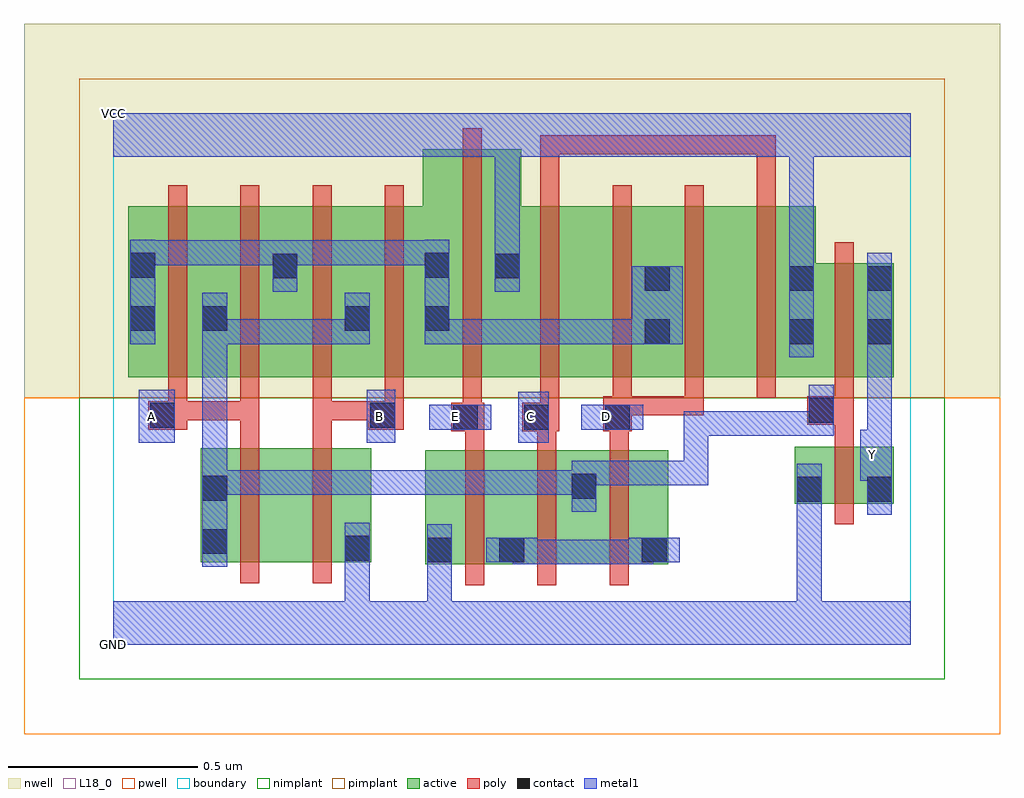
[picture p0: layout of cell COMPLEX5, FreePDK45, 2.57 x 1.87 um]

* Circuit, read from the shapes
.subckt COMPLEX5 A B C D E GND VCC Y
M1 n1 A n2 VSUBS nfet w=0.3u l=0.05u
M2 GND B n1 VSUBS nfet w=0.3u l=0.05u
M3 n3 E GND VSUBS nfet w=0.3u l=0.05u
M4 n2 C n3 VSUBS nfet w=0.3u l=0.05u
M5 n3 D n2 VSUBS nfet w=0.3u l=0.05u
M6 Y n2 GND VSUBS nfet w=0.15u l=0.05u
M7 n2 A n4 n5 pfet w=0.45u l=0.05u m=2
M8 n2 B n4 n5 pfet w=0.45u l=0.05u m=2
M9 VCC E n4 n5 pfet w=0.6u l=0.05u
M10 n6 C VCC n5 pfet w=0.45u l=0.05u
M11 n4 D n6 n5 pfet w=0.45u l=0.05u
M12 n7 D n4 n5 pfet w=0.45u l=0.05u
M13 VCC C n7 n5 pfet w=0.45u l=0.05u
M14 Y n2 VCC n5 pfet w=0.3u l=0.05u
.ends

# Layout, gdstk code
import gdstk
lib = gdstk.Library(unit=1e-6, precision=1e-09)
def R(c, l, rs):  # rectangles x0, y0, x1, y1
    for r in rs: c.add(gdstk.rectangle(r[:2], r[2:], *l))
def A(c, l, x, y, w, h, nx, ny, dx, dy):  # array of equal rectangles
    R(c, l, [(x+i*dx, y+j*dy, x+i*dx+w, y+j*dy+h) for i in range(nx) for j in range(ny)])
active = (1, 0)
pwell = (2, 0)
nwell = (3, 0)
nimplant = (4, 0)
pimplant = (5, 0)
poly = (9, 0)
contact = (10, 0)
metal1 = (11, 0)
L18_0 = (18, 0)
boundary = (235, 0)

complex5 = lib.new_cell('COMPLEX5')
R(complex5, active, [(0.822,0.212,0.897,0.512), (0.822,0.212,1.087,0.512), (1.012,0.212,1.277,0.512), (1.012,0.212,1.087,0.392), (1.202,0.212,1.462,0.512), (1.387,0.212,1.462,0.512), (0.23,0.217,0.305,0.517), (0.23,0.217,0.455,0.517), (0.455,0.217,0.68,0.517), (0.605,0.217,0.68,0.517), (1.202,0.295,1.277,0.455), (1.795,0.372,1.87,0.522), (1.795,0.372,2.055,0.522), (1.98,0.372,2.055,0.522), (0.04,0.705,0.115,1.155), (0.04,0.705,0.305,1.155), (0.23,0.705,0.305,1.07), (0.23,0.705,0.49,1.155), (0.415,0.705,0.49,1.155), (0.415,0.705,0.68,1.155), (0.605,0.705,0.89,1.155), (0.605,0.705,0.68,1.07), (0.815,0.705,1.075,1.305), (0.815,0.705,0.89,1.2), (1,0.705,1.245,1.155), (1.245,0.705,1.47,1.155), (1.395,0.705,1.625,1.155), (1.395,0.705,1.47,1.155), (1.625,0.705,1.85,1.155), (1.775,0.705,2.055,1.005), (1.98,0.705,2.055,1.005), (1.775,0.787,1.85,1.155), (1,0.812,1.075,1.197)])
R(complex5, pwell, [(-0.235,-0.235,2.335,0.65)])
R(complex5, nwell, [(-0.235,0.65,2.335,1.635)])
R(complex5, nimplant, [(-0.09,-0.09,2.19,0.65)])
R(complex5, pimplant, [(-0.09,0.65,2.19,1.49)])
A(complex5, poly, 0.927, 0.157, 0.05, 0.41, 3, 1, 0.19, 0)
A(complex5, poly, 0.927, 0.517, 0.05, 0.095, 3, 1, 0.19, 0)
A(complex5, poly, 0.145, 0.592, 0.05, 0.108, 4, 1, 0.19, 0)
A(complex5, poly, 0.145, 0.65, 0.05, 0.56, 4, 1, 0.19, 0)
A(complex5, poly, 1.125, 0.65, 0.05, 0.56, 4, 1, 0.19, 0)
R(complex5, poly, [(0.335,0.162,0.385,0.572), (0.525,0.162,0.575,0.572), (1.9,0.317,1.95,0.577), (0.335,0.522,0.385,0.642), (0.525,0.522,0.575,0.642), (1.9,0.527,1.95,0.63), (0.89,0.562,0.977,0.637), (1.077,0.562,1.175,0.637), (1.29,0.562,1.365,0.655), (0.092,0.567,0.195,0.642), (0.672,0.567,0.765,0.642), (1.827,0.58,1.95,0.655), (0.92,0.587,0.97,0.7), (1.125,0.587,1.175,0.7), (0.145,0.592,0.385,0.642), (0.335,0.592,0.385,0.642), (0.335,0.592,0.385,0.642), (0.335,0.592,0.385,0.642), (0.525,0.592,0.575,0.642), (0.525,0.592,0.575,0.642), (0.525,0.592,0.575,0.642), (0.525,0.592,0.722,0.642), (1.315,0.605,1.365,0.7), (1.315,0.605,1.555,0.655), (1.505,0.605,1.555,0.7), (1.505,0.605,1.555,0.655), (1.505,0.605,1.555,0.655), (1.505,0.605,1.555,0.655), (1.9,0.605,1.95,0.7), (0.92,0.65,0.97,1.36), (1.9,0.65,1.95,1.06), (1.125,1.16,1.175,1.342), (1.695,1.16,1.745,1.342), (1.125,1.292,1.175,1.342), (1.125,1.292,1.175,1.342), (1.125,1.292,1.175,1.342), (1.125,1.292,1.365,1.342), (1.315,1.292,1.365,1.342), (1.315,1.292,1.497,1.342), (1.447,1.292,1.497,1.342), (1.447,1.292,1.497,1.342), (1.447,1.292,1.497,1.342), (1.447,1.292,1.745,1.342), (1.695,1.292,1.745,1.342), (1.695,1.292,1.745,1.342), (1.695,1.292,1.745,1.342)])
R(complex5, contact, [(0.827,0.217,0.892,0.282), (1.017,0.217,1.082,0.282), (1.392,0.217,1.457,0.282), (0.61,0.222,0.675,0.287), (0.235,0.24,0.3,0.305), (1.8,0.377,1.865,0.442), (1.985,0.377,2.05,0.442), (0.235,0.38,0.3,0.445), (1.207,0.385,1.272,0.45), (0.895,0.567,0.96,0.632), (1.082,0.567,1.147,0.632), (1.295,0.567,1.36,0.632), (0.097,0.572,0.162,0.637), (0.677,0.572,0.742,0.637), (1.832,0.585,1.897,0.65), (1.4,0.792,1.465,0.857), (1.78,0.792,1.845,0.857), (1.985,0.792,2.05,0.857), (0.045,0.827,0.11,0.892), (0.235,0.827,0.3,0.892), (0.61,0.827,0.675,0.892), (0.82,0.827,0.885,0.892), (1.4,0.932,1.465,0.997), (1.78,0.932,1.845,0.997), (1.985,0.932,2.05,0.997), (0.42,0.965,0.485,1.03), (1.005,0.965,1.07,1.03), (0.045,0.967,0.11,1.032), (0.82,0.967,0.885,1.032)])
R(complex5, metal1, [(0,0,2.1,0.115), (0.61,0.05,0.675,0.115), (0.61,0.05,0.675,0.115), (0.61,0.05,0.675,0.252), (0.827,0.05,0.892,0.115), (0.827,0.05,0.892,0.115), (0.827,0.05,0.892,0.247), (1.8,0.05,1.865,0.407), (0.827,0.182,0.892,0.317), (0.61,0.187,0.675,0.322), (0.235,0.205,0.3,0.48), (1.052,0.212,1.117,0.282), (1.052,0.212,1.285,0.277), (1.22,0.212,1.285,0.277), (1.22,0.212,1.422,0.277), (1.357,0.212,1.422,0.282), (0.982,0.217,1.117,0.282), (1.052,0.217,1.117,0.282), (1.357,0.217,1.422,0.282), (1.357,0.217,1.492,0.282), (1.8,0.342,1.865,0.477), (1.8,0.342,1.865,0.407), (1.8,0.342,1.865,0.407), (1.8,0.342,1.865,0.407), (1.8,0.342,1.865,0.407), (1.985,0.342,2.05,0.477), (1.207,0.35,1.272,0.485), (0.235,0.395,0.3,0.46), (0.235,0.395,0.3,0.46), (0.235,0.395,0.437,0.46), (0.372,0.395,0.437,0.46), (0.372,0.395,0.437,0.46), (0.372,0.395,0.437,0.46), (0.372,0.395,0.675,0.46), (0.61,0.395,0.675,0.46), (0.61,0.395,0.675,0.46), (0.61,0.395,0.675,0.46), (0.61,0.395,0.885,0.46), (0.82,0.395,0.885,0.46), (0.82,0.395,0.885,0.46), (0.82,0.395,0.885,0.46), (0.82,0.395,1.022,0.46), (0.957,0.395,1.022,0.46), (0.957,0.395,1.022,0.46), (0.957,0.395,1.022,0.46), (0.957,0.395,1.272,0.46), (1.985,0.412,2.05,0.497), (0.235,0.415,0.3,0.857), (1.207,0.42,1.272,0.485), (1.207,0.42,1.272,0.485), (1.207,0.42,1.567,0.485), (1.502,0.42,1.567,0.485), (1.502,0.42,1.567,0.615), (1.967,0.432,2.05,0.567), (1.985,0.502,2.05,0.822), (0.067,0.532,0.162,0.672), (0.667,0.532,0.742,0.672), (1.067,0.532,1.147,0.667), (1.502,0.55,1.567,0.615), (1.502,0.55,1.567,0.615), (1.502,0.55,1.567,0.615), (1.502,0.55,1.705,0.615), (1.64,0.55,1.705,0.615), (1.64,0.55,1.705,0.615), (1.64,0.55,1.705,0.615), (1.64,0.55,1.842,0.615), (1.777,0.55,1.897,0.615), (1.777,0.55,1.842,0.615), (1.832,0.55,1.897,0.685), (0.832,0.567,0.995,0.632), (1.232,0.567,1.395,0.632), (1.78,0.757,1.845,1.032), (1.985,0.757,2.05,1.032), (0.045,0.792,0.11,1.067), (0.235,0.792,0.3,0.927), (0.235,0.792,0.3,0.857), (0.235,0.792,0.3,0.857), (0.235,0.792,0.3,0.857), (0.235,0.792,0.3,0.857), (0.235,0.792,0.537,0.857), (0.472,0.792,0.537,0.857), (0.472,0.792,0.537,0.857), (0.472,0.792,0.537,0.857), (0.472,0.792,0.675,0.857), (0.61,0.792,0.675,0.927), (0.82,0.792,0.885,1.067), (0.82,0.792,0.885,0.857), (0.82,0.792,0.885,0.857), (0.82,0.792,0.885,0.857), (0.82,0.792,0.885,0.857), (0.82,0.792,1.132,0.857), (1.067,0.792,1.132,0.857), (1.067,0.792,1.132,0.857), (1.067,0.792,1.132,0.857), (1.067,0.792,1.27,0.857), (1.205,0.792,1.27,0.857), (1.205,0.792,1.43,0.857), (1.365,0.792,1.43,0.857), (1.365,0.792,1.43,0.857), (1.365,0.792,1.5,0.997), (0.42,0.93,0.485,1.065), (1.005,0.93,1.07,1.065), (1.78,0.967,1.845,1.35), (0.045,1,0.11,1.065), (0.045,1,0.11,1.065), (0.045,1,0.3,1.065), (0.235,1,0.3,1.065), (0.235,1,0.3,1.065), (0.235,1,0.3,1.065), (0.235,1,0.485,1.065), (0.42,1,0.485,1.065), (0.42,1,0.485,1.065), (0.42,1,0.747,1.065), (0.682,1,0.747,1.065), (0.682,1,0.747,1.065), (0.682,1,0.747,1.065), (0.682,1,0.885,1.065), (1.005,1,1.07,1.35), (0,1.285,2.1,1.4), (1.78,1.285,1.845,1.35), (1.78,1.285,1.845,1.35)])
A(complex5, L18_0, 0.667, 0.567, 0.065, 0.065, 4, 1, 0.2, 0)
R(complex5, L18_0, [(0,0,2.1,0.115), (0.61,0.05,0.675,0.115), (0.61,0.05,0.675,0.115), (0.61,0.05,0.675,0.252), (0.827,0.05,0.892,0.115), (0.827,0.05,0.892,0.115), (0.827,0.05,0.892,0.247), (1.8,0.05,1.865,0.407), (0.827,0.182,0.892,0.317), (0.61,0.187,0.675,0.322), (1.8,0.342,1.865,0.407), (1.8,0.342,1.865,0.407), (1.8,0.342,1.865,0.407), (1.8,0.342,1.865,0.407), (1.8,0.342,1.865,0.477), (1.985,0.342,2.05,0.477), (1.985,0.412,2.05,0.497), (1.967,0.432,2.05,0.567), (1.967,0.467,2.032,0.532), (1.985,0.502,2.05,0.822), (0.067,0.532,0.162,0.672), (0.667,0.532,0.742,0.672), (1.067,0.532,1.147,0.667), (0.067,0.567,0.132,0.632), (0.832,0.567,0.995,0.632), (1.232,0.567,1.395,0.632), (1.78,0.757,1.845,1.032), (1.985,0.757,2.05,1.032), (1.005,0.93,1.07,1.065), (1.78,0.967,1.845,1.35), (1.005,1,1.07,1.35), (0,1.285,2.1,1.4), (1.78,1.285,1.845,1.35), (1.78,1.285,1.845,1.35)])
R(complex5, boundary, [(0,0,2.1,1.4)])
complex5.add(gdstk.Label('A', (0.1,0.6), layer=11, texttype=0))
complex5.add(gdstk.Label('B', (0.7,0.6), layer=11, texttype=0))
complex5.add(gdstk.Label('C', (1.1,0.6), layer=11, texttype=0))
complex5.add(gdstk.Label('D', (1.3,0.6), layer=11, texttype=0))
complex5.add(gdstk.Label('E', (0.9,0.6), layer=11, texttype=0))
complex5.add(gdstk.Label('Y', (2,0.5), layer=11, texttype=0))
complex5.add(gdstk.Label('VCC', (0,1.4), layer=11, texttype=0))
complex5.add(gdstk.Label('GND', (0,0), layer=11, texttype=0))

lib.write_gds('COMPLEX5.gds')
